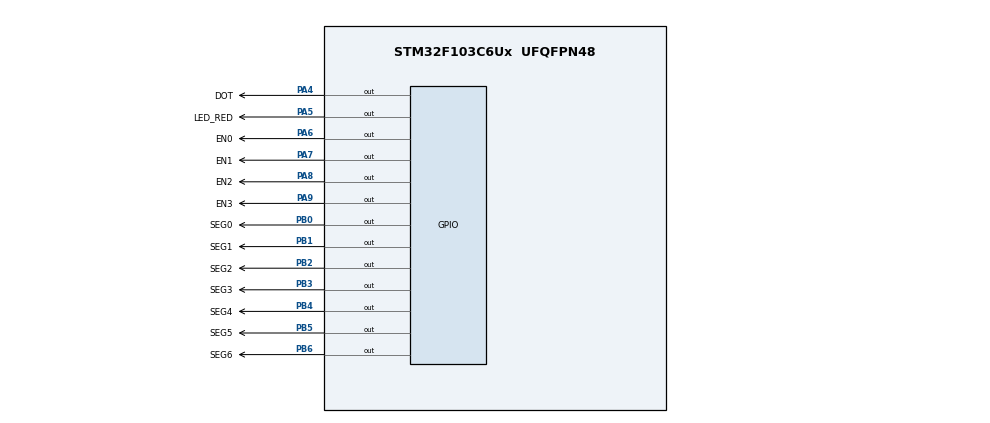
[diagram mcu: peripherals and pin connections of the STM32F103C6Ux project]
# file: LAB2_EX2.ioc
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Mcu.Family=STM32F1
Mcu.Name=STM32F103C6Ux
Mcu.Package=UFQFPN48
NVIC.PriorityGroup=NVIC_PRIORITYGROUP_4
NVIC.TIM2_IRQn=true\:0\:0\:false\:false\:true\:true\:true
PA4.GPIO_Label=DOT
PA4.Signal=GPIO_Output
PA5.GPIO_Label=LED_RED
PA5.Signal=GPIO_Output
PA6.GPIO_Label=EN0
PA6.Signal=GPIO_Output
PA7.GPIO_Label=EN1
PA7.Signal=GPIO_Output
PA8.GPIO_Label=EN2
PA8.Signal=GPIO_Output
PA9.GPIO_Label=EN3
PA9.Signal=GPIO_Output
PB0.GPIO_Label=SEG0
PB0.Signal=GPIO_Output
PB1.GPIO_Label=SEG1
PB1.Signal=GPIO_Output
PB2.GPIO_Label=SEG2
PB2.Signal=GPIO_Output
PB3.GPIO_Label=SEG3
PB3.Signal=GPIO_Output
PB4.GPIO_Label=SEG4
PB4.Signal=GPIO_Output
PB5.GPIO_Label=SEG5
PB5.Signal=GPIO_Output
PB6.GPIO_Label=SEG6
PB6.Signal=GPIO_Output
ProjectManager.HeapSize=0x200
ProjectManager.StackSize=0x400
ProjectManager.TargetToolchain=STM32CubeIDE
RCC.APB1Freq_Value=8000000
RCC.APB2Freq_Value=8000000
TIM2.Period=9
TIM2.Prescaler=7999
VP_SYS_VS_ND.Mode=No_Debug
VP_TIM2_VS_ClockSourceINT.Mode=Internal
board=custom

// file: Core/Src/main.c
/* USER CODE BEGIN Header */
/**
  ******************************************************************************
  * @file           : main.c
  * @brief          : Main program body
  ******************************************************************************
  * @attention
  *
  * <h2><center>&copy; Copyright (c) 2025 STMicroelectronics.
  * All rights reserved.</center></h2>
  *
  * This software component is licensed by ST under BSD 3-Clause license,
  * the "License"; You may not use this file except in compliance with the
  * License. You may obtain a copy of the License at:
  *                        opensource.org/licenses/BSD-3-Clause
  *
  ******************************************************************************
  */
/* USER CODE END Header */
#include "main.h"

/* USER CODE BEGIN Includes */
#include "software_timer.h"
/* USER CODE END Includes */

TIM_HandleTypeDef htim2;

/* USER CODE BEGIN PV */
unsigned char tbl7seg [] = {0xC0, 0xF9, 0xA4, 0xB0, 0x99, 0x92, 0x82, 0xF8, 0x80, 0x90};
int currentLED = 0;
/* USER CODE END PV */

void SystemClock_Config(void);
static void MX_GPIO_Init(void);
static void MX_TIM2_Init(void);

/* USER CODE BEGIN 0 */
void display7SEG(int num);

/* USER CODE END 0 */

int main(void)
{

  /* MCU Configuration--------------------------------------------------------*/

  /* Reset of all peripherals, Initializes the Flash interface and the Systick. */
  HAL_Init();

  /* Configure the system clock */
  SystemClock_Config();

  /* USER CODE BEGIN SysInit */
  int currentLED = 0;
  /* USER CODE END SysInit */

  /* Initialize all configured peripherals */
  MX_GPIO_Init();
  MX_TIM2_Init();
  /* USER CODE BEGIN 2 */
  HAL_TIM_Base_Start_IT(&htim2);
  /* USER CODE END 2 */

  /* Infinite loop */
  /* USER CODE BEGIN WHILE */
  setTimer1(100);
  setTimer2(50);
  setTimer3(100);
  while (1)
  {
	  if (timer1_flag == 1){
		  setTimer1(100);
		  HAL_GPIO_TogglePin(LED_RED_GPIO_Port, LED_RED_Pin);
	  }

	  if (timer3_flag == 1){
		  setTimer3(100);
		  HAL_GPIO_TogglePin(DOT_GPIO_Port, DOT_Pin);
	  }

	  if (timer2_flag == 1) {
		  setTimer2(50); // reset lại 0.5s

	  // Tắt tất cả trước (common anode, tắt = SET)
		  HAL_GPIO_WritePin(GPIOA, EN0_Pin|EN1_Pin|EN2_Pin|EN3_Pin, GPIO_PIN_SET);

		  switch(currentLED) {
			  case 0:
				  display7SEG(1);   // LED1 hiển thị số 1
				  HAL_GPIO_WritePin(GPIOA, EN0_Pin, GPIO_PIN_RESET);
				  break;
			  case 1:
				  display7SEG(2);   // LED2 hiển thị số 2
				  HAL_GPIO_WritePin(GPIOA, EN1_Pin, GPIO_PIN_RESET);
				  break;
			  case 2:
				  display7SEG(3);   // LED3 hiển thị số 3
				  HAL_GPIO_WritePin(GPIOA, EN2_Pin, GPIO_PIN_RESET);
				  break;
			  case 3:
				  display7SEG(0);   // LED4 hiển thị số 0
				  HAL_GPIO_WritePin(GPIOA, EN3_Pin, GPIO_PIN_RESET);
				  break;
		  }

		  // chuyển sang LED tiếp theo
		  currentLED = (currentLED + 1) % 4;
	  }
    /* USER CODE END WHILE */

  }
}

void SystemClock_Config(void)
{
  RCC_OscInitTypeDef RCC_OscInitStruct = {0};
  RCC_ClkInitTypeDef RCC_ClkInitStruct = {0};

  /** Initializes the RCC Oscillators according to the specified parameters
  * in the RCC_OscInitTypeDef structure.
  */
  RCC_OscInitStruct.OscillatorType = RCC_OSCILLATORTYPE_HSI;
  RCC_OscInitStruct.HSIState = RCC_HSI_ON;
  RCC_OscInitStruct.HSICalibrationValue = RCC_HSICALIBRATION_DEFAULT;
  RCC_OscInitStruct.PLL.PLLState = RCC_PLL_NONE;
  if (HAL_RCC_OscConfig(&RCC_OscInitStruct) != HAL_OK)
  {
    Error_Handler();
  }
  /** Initializes the CPU, AHB and APB buses clocks
  */
  RCC_ClkInitStruct.ClockType = RCC_CLOCKTYPE_HCLK|RCC_CLOCKTYPE_SYSCLK
                              |RCC_CLOCKTYPE_PCLK1|RCC_CLOCKTYPE_PCLK2;
  RCC_ClkInitStruct.SYSCLKSource = RCC_SYSCLKSOURCE_HSI;
  RCC_ClkInitStruct.AHBCLKDivider = RCC_SYSCLK_DIV1;
  RCC_ClkInitStruct.APB1CLKDivider = RCC_HCLK_DIV1;
  RCC_ClkInitStruct.APB2CLKDivider = RCC_HCLK_DIV1;

  if (HAL_RCC_ClockConfig(&RCC_ClkInitStruct, FLASH_LATENCY_0) != HAL_OK)
  {
    Error_Handler();
  }
}

static void MX_TIM2_Init(void)
{

  TIM_ClockConfigTypeDef sClockSourceConfig = {0};
  TIM_MasterConfigTypeDef sMasterConfig = {0};

  htim2.Instance = TIM2;
  htim2.Init.Prescaler = 7999;
  htim2.Init.CounterMode = TIM_COUNTERMODE_UP;
  htim2.Init.Period = 9;
  htim2.Init.ClockDivision = TIM_CLOCKDIVISION_DIV1;
  htim2.Init.AutoReloadPreload = TIM_AUTORELOAD_PRELOAD_DISABLE;
  if (HAL_TIM_Base_Init(&htim2) != HAL_OK)
  {
    Error_Handler();
  }
  sClockSourceConfig.ClockSource = TIM_CLOCKSOURCE_INTERNAL;
  if (HAL_TIM_ConfigClockSource(&htim2, &sClockSourceConfig) != HAL_OK)
  {
    Error_Handler();
  }
  sMasterConfig.MasterOutputTrigger = TIM_TRGO_RESET;
  sMasterConfig.MasterSlaveMode = TIM_MASTERSLAVEMODE_DISABLE;
  if (HAL_TIMEx_MasterConfigSynchronization(&htim2, &sMasterConfig) != HAL_OK)
  {
    Error_Handler();
  }

}

static void MX_GPIO_Init(void)
{
  GPIO_InitTypeDef GPIO_InitStruct = {0};

  /* GPIO Ports Clock Enable */
  __HAL_RCC_GPIOA_CLK_ENABLE();
  __HAL_RCC_GPIOB_CLK_ENABLE();

  /*Configure GPIO pin Output Level */
  HAL_GPIO_WritePin(GPIOA, DOT_Pin|LED_RED_Pin|EN0_Pin|EN1_Pin
                          |EN2_Pin|EN3_Pin, GPIO_PIN_RESET);

  /*Configure GPIO pin Output Level */
  HAL_GPIO_WritePin(GPIOB, SEG0_Pin|SEG1_Pin|SEG2_Pin|SEG3_Pin
                          |SEG4_Pin|SEG5_Pin|SEG6_Pin, GPIO_PIN_RESET);

  /*Configure GPIO pins : DOT_Pin LED_RED_Pin EN0_Pin EN1_Pin
                           EN2_Pin EN3_Pin */
  GPIO_InitStruct.Pin = DOT_Pin|LED_RED_Pin|EN0_Pin|EN1_Pin
                          |EN2_Pin|EN3_Pin;
  GPIO_InitStruct.Mode = GPIO_MODE_OUTPUT_PP;
  GPIO_InitStruct.Pull = GPIO_NOPULL;
  GPIO_InitStruct.Speed = GPIO_SPEED_FREQ_LOW;
  HAL_GPIO_Init(GPIOA, &GPIO_InitStruct);

  /*Configure GPIO pins : SEG0_Pin SEG1_Pin SEG2_Pin SEG3_Pin
                           SEG4_Pin SEG5_Pin SEG6_Pin */
  GPIO_InitStruct.Pin = SEG0_Pin|SEG1_Pin|SEG2_Pin|SEG3_Pin
                          |SEG4_Pin|SEG5_Pin|SEG6_Pin;
  GPIO_InitStruct.Mode = GPIO_MODE_OUTPUT_PP;
  GPIO_InitStruct.Pull = GPIO_NOPULL;
  GPIO_InitStruct.Speed = GPIO_SPEED_FREQ_LOW;
  HAL_GPIO_Init(GPIOB, &GPIO_InitStruct);

}

/* USER CODE BEGIN 4 */
void HAL_TIM_PeriodElapsedCallback(TIM_HandleTypeDef *htim) {
	timerRun();
}

void display7SEG(int num) {
    if (num < 0 || num > 9) return;
    GPIOB->ODR = (GPIOB->ODR & 0xFF80) | tbl7seg[num];
}
/* USER CODE END 4 */

void Error_Handler(void)
{
  __disable_irq();
  while (1)
  {
  }
}

/************************ (C) COPYRIGHT STMicroelectronics *****END OF FILE****/
